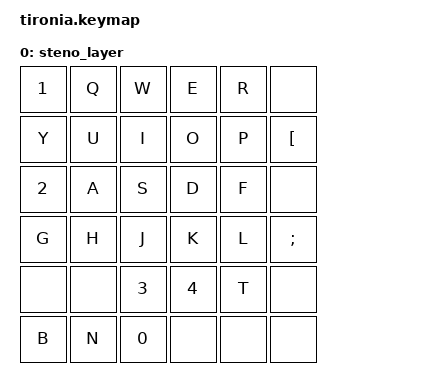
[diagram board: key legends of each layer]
#include <behaviors.dtsi>
#include <dt-bindings/zmk/keys.h>

/ {
    keymap {
        compatible = "zmk,keymap";
        
        steno_layer {
            // Custom 28-Key Split Steno Layout for Plover
            // Left Hand (11 keys)          Right Hand (17 keys)
            // ┌─────┬─────┬─────┬─────┬─────┐    ┌─────┬─────┬─────┬─────┬─────┬─────┐
            // │ #1  │ S-  │ T-  │ K-  │ P-  │    │ W-  │ H-  │ R-  │ A   │ O   │ *   │
            // ├─────┼─────┼─────┼─────┼─────┤    ├─────┼─────┼─────┼─────┼─────┼─────┤
            // │ #2  │ S-  │ K-  │ W-  │ R-  │    │ *   │ -F  │ -P  │ -L  │ -T  │ -D  │
            // └─────┴─────┼─────┼─────┼─────┤    ├─────┼─────┼─────┼─────┴─────┴─────┘
            //             │ #3  │ #4  │ A   │    │ E   │ U   │ #12 │
            //             └─────┴─────┴─────┘    └─────┴─────┴─────┘
            
            bindings = <
                // Left hand - 5 top + 5 bottom + 3 thumb (13 keys)
                &kp N1    &kp Q     &kp W     &kp E     &kp R      &none     // Top: #1, S-, T-, K-, P- + spacer
                &kp Y     &kp U     &kp I     &kp O     &kp P     &kp LBKT   // Right Top: W-, H-, R-, A, O, *
                &kp N2    &kp A     &kp S     &kp D     &kp F      &none     // Bottom: #2, S-, K-, W-, R- + spacer
                &kp G     &kp H     &kp J     &kp K     &kp L     &kp SEMI   // Right Bottom: *, -F, -P, -L, -T, -D
                &none     &none     &kp N3    &kp N4    &kp T      &none     // Thumbs: spacers + #3, #4, A + spacer
                &kp B     &kp N     &kp N0    &none     &none     &none      // Right Thumbs: E, U, #12 + spacers
            >;
        };
    };
};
